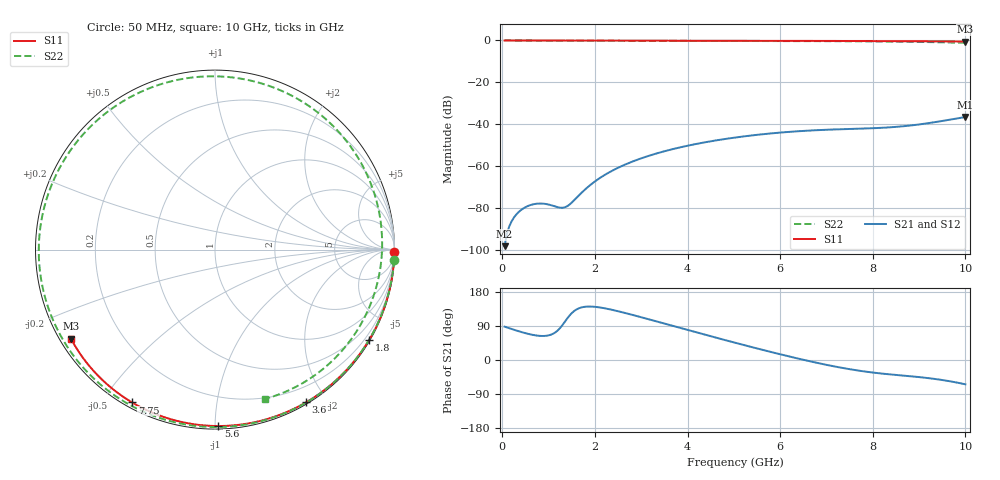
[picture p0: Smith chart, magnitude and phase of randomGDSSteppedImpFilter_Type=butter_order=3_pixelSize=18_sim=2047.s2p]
! freq	dB(S11)	phase(S11)	dB(S12)	phase(S12)
!  dB(S21)	phase(S21)	dB(S22)	phase(S22)
!S-par simulation data
#  GHz  S  DB  R 50
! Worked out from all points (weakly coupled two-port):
!   200 points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, 50 MHz to 10 GHz, reference 50 ohm
!   highest |S21| = -36.63 dB at 10 GHz (marker M1); lowest = -98.4 dB at 50 MHz (marker M2)
!   lowest |S11| = -0.5 dB at 10 GHz (marker M3), VSWR 34.59, Z = 1.56 - j14.2 ohm
!   |S11| at or under -10 dB: nowhere
!   |S22| runs from -1.1 to 0.0 dB; largest |S21 - S12| = 0
!   S11 on the Smith chart (normalised r, x): 50 MHz: open; 1.8 GHz: 0.03, -3.69; 3.6 GHz: 0.02, -1.76; 5.6 GHz: 0.02, -1.02; 7.75 GHz: 0.02, -0.60; 10 GHz: 0.03, -0.28
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0.05  -0.00 -0.9  -98.40 88.0  -98.40 88.0  -0.00 -3.4
0.45  -0.01 -7.7  -80.40 72.4  -80.40 72.4  -0.04 -29.5
0.9  -0.02 -15.3  -78.10 63.4  -78.10 63.4  -0.07 -57.2
1.35  -0.03 -22.9  -79.81 100.8  -79.81 100.8  -0.09 -82.3
1.75  -0.04 -29.5  -72.04 139.8  -72.04 139.8  -0.11 -102.1
1.8  -0.04 -30.4  -71.03 140.7  -71.03 140.7  -0.11 -104.4
2.15  -0.05 -36.1  -65.17 137.8  -65.17 137.8  -0.12 -119.8
2.6  -0.06 -43.4  -59.87 125.7  -59.87 125.7  -0.13 -137.7
3.4  -0.07 -56.1  -53.61 99.5  -53.61 99.5  -0.15 -165.8
3.6  -0.08 -59.2  -52.42 92.8  -52.42 92.8  -0.15 -172.3
4.3  -0.10 -69.9  -49.02 69.3  -49.02 69.3  -0.18 165.7
5.05  -0.13 -81.0  -46.37 44.8  -46.37 44.8  -0.21 142.7
5.6  -0.15 -88.9  -44.91 27.4  -44.91 27.4  -0.24 125.5
6.2  -0.18 -97.4  -43.72 9.2  -43.72 9.2  -0.27 105.7
6.7  -0.20 -104.3  -43.01 -4.9  -43.01 -4.9  -0.31 88.1
7.25  -0.24 -111.7  -42.50 -18.8  -42.50 -18.8  -0.36 67.2
7.75  -0.28 -118.4  -42.17 -29.0  -42.17 -29.0  -0.42 46.4
8.35  -0.33 -126.4  -41.58 -37.7  -41.58 -37.7  -0.53 19.0
8.75  -0.36 -131.7  -40.84 -42.2  -40.84 -42.2  -0.63 -1.0
9.15  -0.40 -137.0  -39.72 -47.1  -39.72 -47.1  -0.76 -22.3
9.6  -0.45 -143.0  -38.14 -54.7  -38.14 -54.7  -0.94 -47.8
10  -0.50 -148.3  -36.63 -64.1  -36.63 -64.1  -1.14 -71.5
